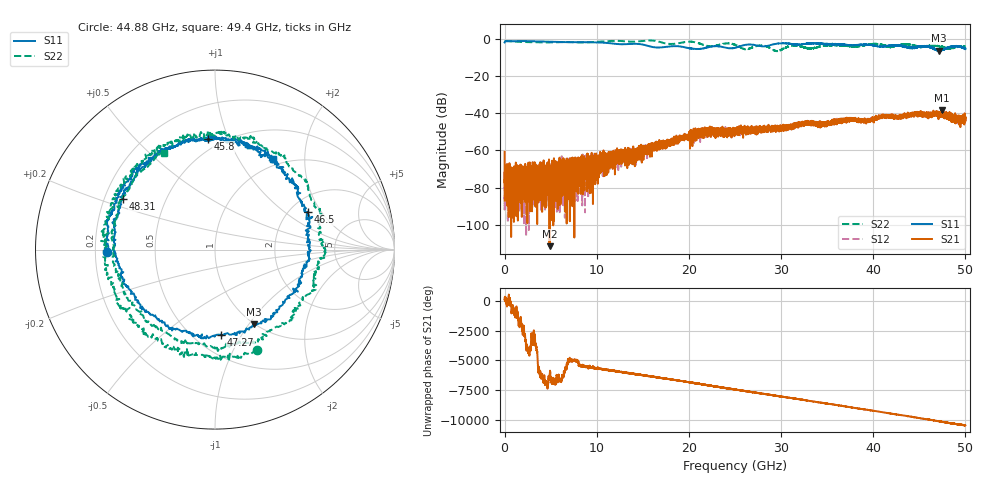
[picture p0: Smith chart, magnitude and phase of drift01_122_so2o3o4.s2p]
!Created with skrf (http://scikit-rf.org).
# Hz S RI R 50.0
!freq ReS11 ImS11 ReS21 ImS21 ReS12 ImS12 ReS22 ImS22
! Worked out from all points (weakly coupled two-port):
!   10001 points, 300 kHz to 50 GHz, reference 50 ohm
!   highest |S21| = -38.32 dB at 47.42 GHz (marker M1); lowest = -111.4 dB at 4.875 GHz (marker M2)
!   lowest |S11| = -6.6 dB at 47.11 GHz (marker M3), VSWR 2.77, Z = 49.4 - j52.8 ohm
!   |S11| at or under -10 dB: nowhere
!   |S22| runs from -6.8 to -1.0 dB; largest |S21 - S12| = 0.0038
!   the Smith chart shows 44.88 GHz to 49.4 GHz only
!   S11 on the Smith chart (normalised r, x): 44.88 GHz: 0.25, -0.01; 45.8 GHz: 0.42, +0.84; 46.5 GHz: 2.48, +1.52; 47.27 GHz: 0.67, -0.82; 48.31 GHz: 0.28, +0.24; 49.4 GHz: 0.90, +1.41
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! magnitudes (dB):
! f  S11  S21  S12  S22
! 300 kHz  -2.1  -60.7  -72.7  -1.3
! 270.3 MHz  -1.4  -82.0  -81.9  -1.4
! 4.875 GHz  -1.6  -111.4  -94.4  -2.1
! 6.515 GHz  -1.9  -73.4  -76.2  -1.9
! 8.335 GHz  -1.9  -76.0  -65.8  -2.1
! 16.67 GHz  -4.8  -55.8  -56.5  -1.6
! 21.81 GHz  -5.0  -49.8  -49.7  -3.7
! 25 GHz  -5.0  -49.8  -49.9  -3.4
! 28.08 GHz  -4.2  -47.9  -49.2  -3.8
! 29.55 GHz  -2.8  -49.5  -47.7  -6.7
! 31.27 GHz  -3.0  -46.5  -46.3  -4.0
! 33.34 GHz  -2.5  -45.8  -46.2  -5.2
! 41.67 GHz  -3.9  -41.8  -41.3  -4.4
! 44.88 GHz  -4.4  -40.9  -40.0  -4.3
! 45.8 GHz  -4.2  -40.9  -40.5  -4.0
! 46.5 GHz  -5.0  -41.3  -40.2  -3.9
! 47.11 GHz  -6.6  -41.4  -39.9  -3.9
! 47.27 GHz  -6.5  -40.4  -40.4  -4.1
! 47.42 GHz  -6.3  -38.3  -40.0  -4.4
! 48.31 GHz  -4.6  -43.0  -40.5  -5.3
! 49.4 GHz  -4.5  -44.0  -43.7  -4.3
! 50 GHz  -5.4  -42.3  -43.2  -4.2
